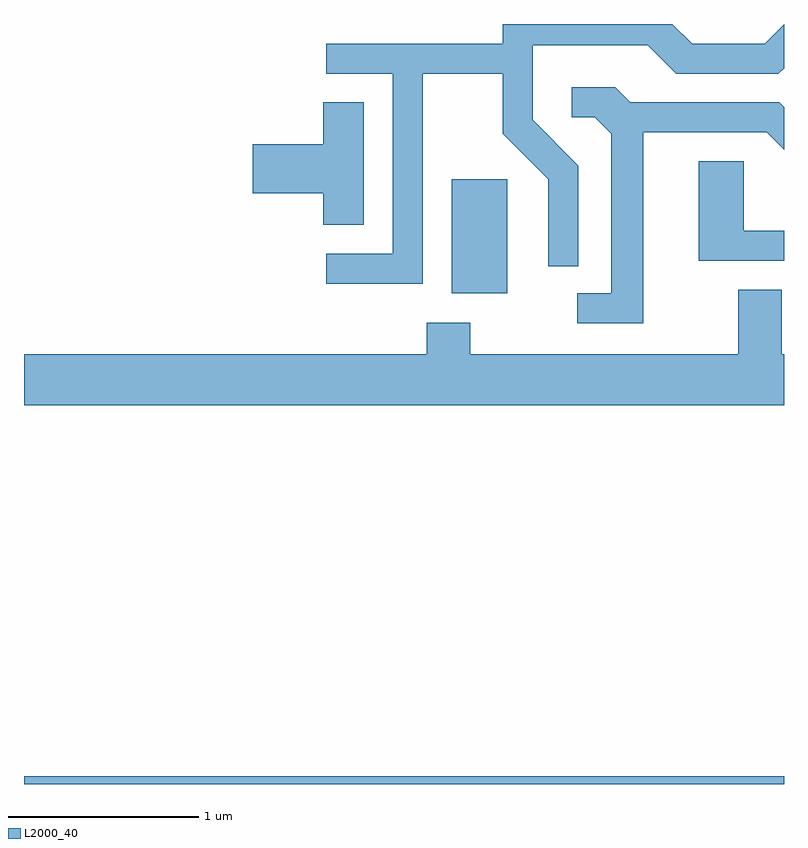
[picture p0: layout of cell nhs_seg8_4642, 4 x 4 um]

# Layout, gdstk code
import gdstk
lib = gdstk.Library(unit=1e-6, precision=1e-09)
def R(c, l, rs):  # rectangles x0, y0, x1, y1
    for r in rs: c.add(gdstk.rectangle(r[:2], r[2:], *l))
def P(c, l, *ps):  # polygons
    for p in ps: c.add(gdstk.Polygon(p, *l))
L2000_40 = (2000, 40)

nhs_seg8_4642 = lib.new_cell('nhs_seg8_4642')
R(nhs_seg8_4642, L2000_40, [(323.611,1914.342,327.611,1914.384), (325.861,1916.926,326.154,1917.524)])
P(nhs_seg8_4642, L2000_40, [(325.709,1918.081),(326.131,1918.081),(326.131,1917.764),(326.371,1917.524),(326.371,1917.068),(326.529,1917.068),(326.529,1917.597),(326.289,1917.837),(326.289,1918.231),(326.894,1918.231),(327.044,1918.081),(327.582,1918.081),(327.611,1918.11),(327.611,1918.341),(327.509,1918.239),(327.127,1918.239),(327.024,1918.342),(326.131,1918.342),(326.131,1918.239),(325.203,1918.239),(325.203,1918.081),(325.551,1918.081),(325.551,1917.134),(325.203,1917.134),(325.203,1916.976),(325.709,1916.976)],
  [(326.869,1917.771),(327.519,1917.771),(327.611,1917.679),(327.611,1917.905),(327.587,1917.929),(326.802,1917.929),(326.722,1918.009),(326.493,1918.009),(326.493,1917.851),(326.614,1917.851),(326.701,1917.764),(326.701,1916.924),(326.523,1916.924),(326.523,1916.766),(326.869,1916.766)],
  [(325.399,1917.929),(325.186,1917.929),(325.186,1917.709),(324.816,1917.709),(324.816,1917.451),(325.186,1917.451),(325.186,1917.286),(325.399,1917.286)],
  [(327.611,1917.254),(327.399,1917.254),(327.399,1917.619),(327.161,1917.619),(327.161,1917.096),(327.611,1917.096)],
  [(327.611,1916.604),(327.599,1916.604),(327.599,1916.944),(327.371,1916.944),(327.371,1916.604),(325.959,1916.604),(325.959,1916.769),(325.731,1916.769),(325.731,1916.604),(323.611,1916.604),(323.611,1916.336),(327.611,1916.336)])

lib.write_gds('nhs_seg8_4642.gds')
